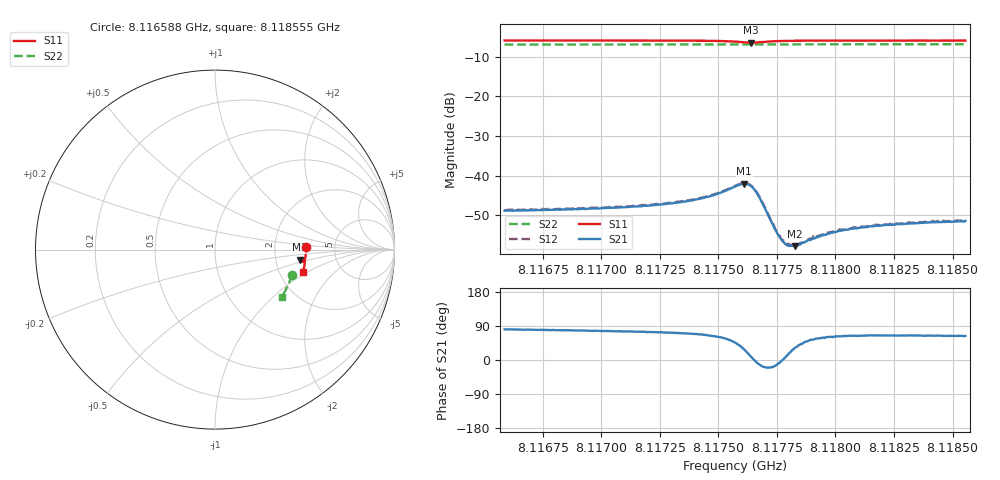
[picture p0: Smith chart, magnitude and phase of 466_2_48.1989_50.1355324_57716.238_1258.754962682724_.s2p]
#  HZ  S  RI  R  50.00
! Rohde & Schwarz Vector Network Analyzer
! Rohde-Schwarz,ZNB20-2Port,1311601062101988,3.16
! Created: UTC 3/20/2024, 11:56:57 AM
! freq[Hz]  re:S11  im:S11  re:S21  im:S21  re:S12  im:S12  re:S22  im:S22
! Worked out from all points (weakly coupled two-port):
!   401 points, 8.116588 GHz to 8.118555 GHz, reference 50 ohm
!   highest |S21| = -41.98 dB at 8.11761 GHz (marker M1); lowest = -57.7 dB at 8.117827 GHz (marker M2)
!   lowest |S11| = -6.4 dB at 8.11764 GHz (marker M3), VSWR 2.82, Z = 138 - j19.8 ohm
!   |S11| at or under -10 dB: nowhere
!   |S22| runs from -6.9 to -6.8 dB; largest |S21 - S12| = 0.00024
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8.1165877e9  0.5076 0.0157  0.000562 0.00359  0.000624 0.00363  0.4277 -0.141
8.1169171e9  0.5071 -0.0096  0.000804 0.00374  0.00086 0.0038  0.4208 -0.1628
8.1172466e9  0.5049 -0.0362  0.00124 0.00415  0.00129 0.00421  0.4128 -0.1844
8.1173843e9  0.5024 -0.0488  0.00172 0.00457  0.0018 0.00463  0.4091 -0.1934
8.1174334e9  0.5008 -0.0537  0.00205 0.00483  0.00211 0.00492  0.4075 -0.1967
8.1175023e9  0.4969 -0.0614  0.00292 0.00526  0.00304 0.00538  0.4055 -0.2011
8.1175711e9  0.4864 -0.0681  0.00508 0.00528  0.00521 0.00531  0.4031 -0.2053
8.1176104e9  0.4761 -0.0652  0.00703 0.00372  0.00716 0.00378  0.4016 -0.2074
8.1176399e9  0.4727 -0.0556  0.00732 0.00108  0.00749 0.00106  0.4005 -0.2089
8.1176547e9  0.4748 -0.0506  0.00667 -0.000148  0.00679 -0.0002  0.4004 -0.2094
8.1176744e9  0.4801 -0.0467  0.00531 -0.00108  0.00541 -0.00111  0.4001 -0.2106
8.1177383e9  0.4945 -0.0512  0.00213 -0.000622  0.00222 -0.000665  0.3988 -0.2147
8.1177678e9  0.4971 -0.0554  0.00159 -0.000107  0.0016 -0.000103  0.3979 -0.2167
8.1177924e9  0.4983 -0.0588  0.0013 0.000277  0.00136 0.000254  0.3974 -0.2183
8.1178268e9  0.4994 -0.0631  0.0011 0.000691  0.00115 0.000732  0.3963 -0.2205
8.1179006e9  0.4997 -0.0711  0.000939 0.00128  0.000938 0.00134  0.394 -0.2254
8.1179743e9  0.4994 -0.0782  0.000897 0.00163  0.000946 0.00169  0.3915 -0.23
8.1180235e9  0.4988 -0.0826  0.000946 0.00181  0.000962 0.00185  0.3898 -0.233
8.1181513e9  0.4972 -0.093  0.000965 0.0021  0.00104 0.00212  0.3855 -0.2409
8.11823e9  0.4962 -0.0992  0.00102 0.00218  0.00106 0.00223  0.3828 -0.2456
8.1184267e9  0.4928 -0.1144  0.00113 0.00233  0.00118 0.00237  0.3756 -0.2574
8.1185545e9  0.4904 -0.1239  0.00121 0.00242  0.00118 0.00241  0.3707 -0.2651
